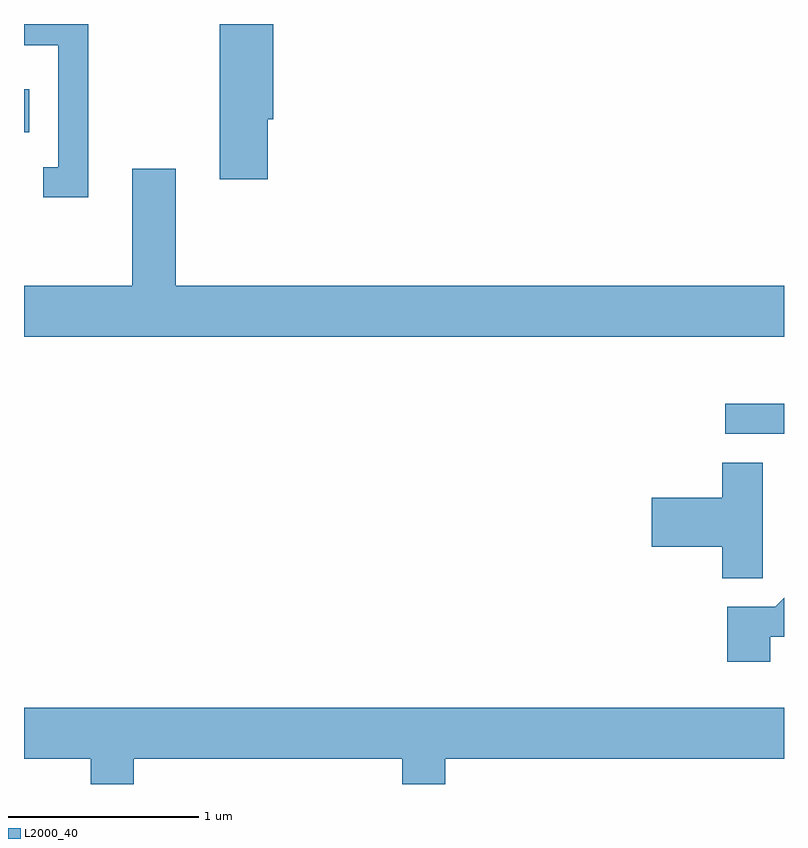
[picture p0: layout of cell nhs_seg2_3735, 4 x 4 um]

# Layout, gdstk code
import gdstk
lib = gdstk.Library(unit=1e-6, precision=1e-09)
def R(c, l, rs):  # rectangles x0, y0, x1, y1
    for r in rs: c.add(gdstk.rectangle(r[:2], r[2:], *l))
def P(c, l, *ps):  # polygons
    for p in ps: c.add(gdstk.Polygon(p, *l))
L2000_40 = (2000, 40)

nhs_seg2_3735 = lib.new_cell('nhs_seg2_3735')
R(nhs_seg2_3735, L2000_40, [(299.303,985.646,299.611,985.804), (295.611,987.231,295.639,987.459)])
P(nhs_seg2_3735, L2000_40, [(296.894,987.301),(296.924,987.301),(296.924,987.802),(296.641,987.802),(296.641,986.986),(296.894,986.986)],
  [(295.949,987.802),(295.611,987.802),(295.611,987.691),(295.791,987.691),(295.791,987.049),(295.713,987.049),(295.713,986.891),(295.949,986.891)],
  [(299.611,986.424),(296.409,986.424),(296.409,987.039),(296.181,987.039),(296.181,986.424),(295.611,986.424),(295.611,986.156),(299.611,986.156)],
  [(299.499,985.494),(299.286,985.494),(299.286,985.309),(298.916,985.309),(298.916,985.051),(299.286,985.051),(299.286,984.886),(299.499,984.886)],
  [(299.539,984.576),(299.611,984.576),(299.611,984.782),(299.564,984.734),(299.311,984.734),(299.311,984.446),(299.539,984.446)],
  [(296.189,983.936),(297.601,983.936),(297.601,983.802),(297.829,983.802),(297.829,983.936),(299.611,983.936),(299.611,984.204),(295.611,984.204),(295.611,983.936),(295.961,983.936),(295.961,983.802),(296.189,983.802)])

lib.write_gds('nhs_seg2_3735.gds')
